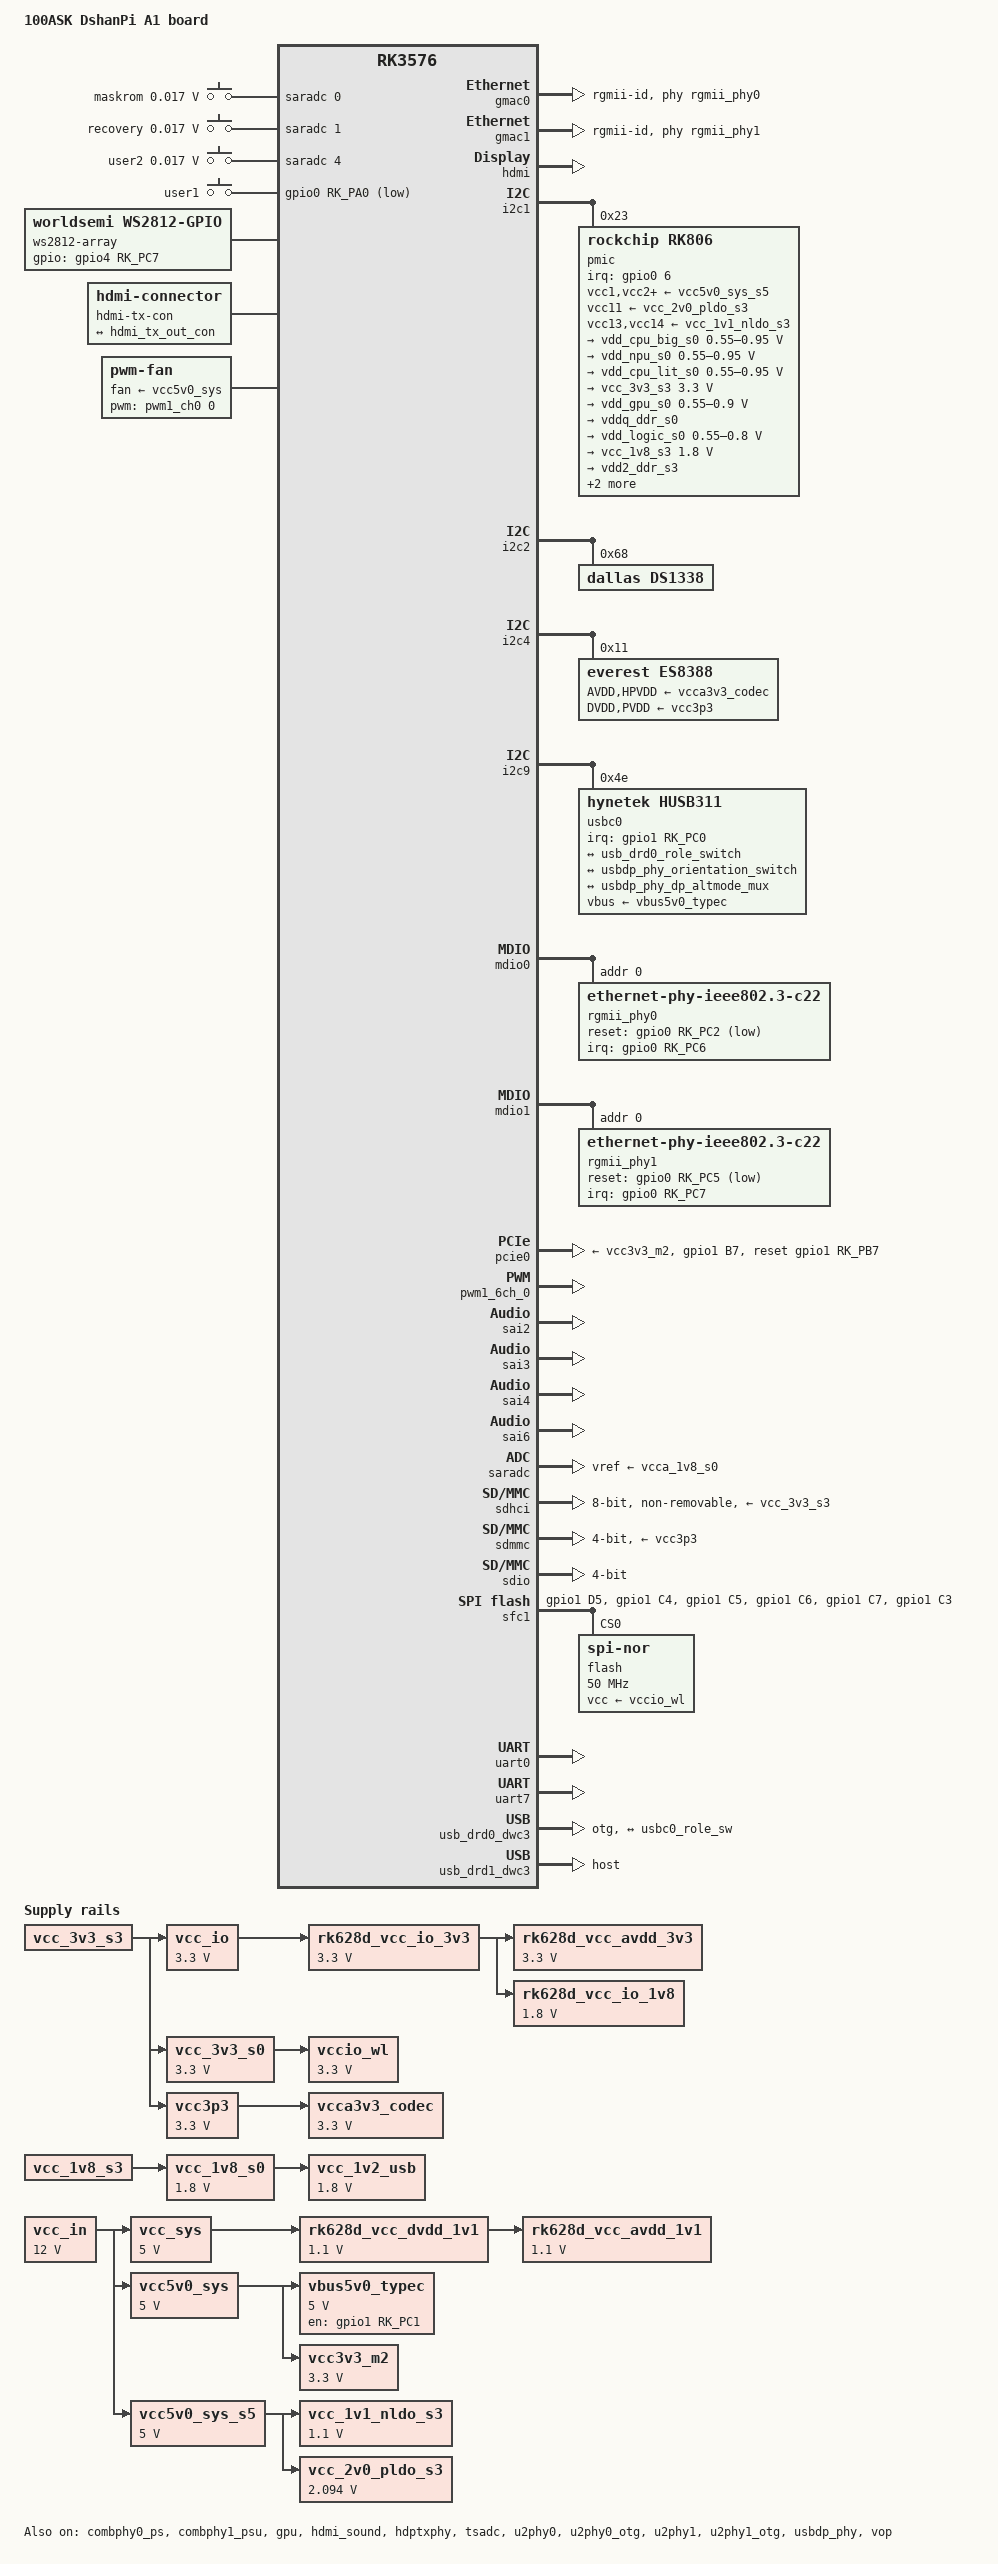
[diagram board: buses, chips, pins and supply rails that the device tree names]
// SPDX-License-Identifier: (GPL-2.0+ OR MIT)
/*
 * Copyright (c) 2024 Rockchip Electronics Co., Ltd.
 *
 */

/dts-v1/;

#include <dt-bindings/gpio/gpio.h>
#include <dt-bindings/input/linux-event-codes.h>
#include <dt-bindings/leds/common.h>
#include <dt-bindings/pinctrl/rockchip.h>
#include <dt-bindings/pwm/pwm.h>
#include <dt-bindings/soc/rockchip,vop2.h>
#include <dt-bindings/usb/pd.h>
#include "rk3576.dtsi"

/ {
	model = "100ASK DshanPi A1 board";
	compatible = "100ask,dshanpi-a1", "rockchip,rk3576";

	aliases {
		ethernet0 = &gmac0;
		ethernet1 = &gmac1;
		mmc0 = &sdhci;
		mmc1 = &sdmmc;
	};

	chosen {
		stdout-path = "serial0:1500000n8";
	};

	adc-keys-maskrom {
		compatible = "adc-keys";
		io-channels = <&saradc 0>;
		io-channel-names = "buttons";
		keyup-threshold-microvolt = <1800000>;
		poll-interval = <100>;

		button-maskrom {
			label = "maskrom";
			linux,code = <KEY_SETUP>;
			press-threshold-microvolt = <17000>;
		};
	};

	adc-keys-recovery {
		compatible = "adc-keys";
		io-channels = <&saradc 1>;
		io-channel-names = "buttons";
		keyup-threshold-microvolt = <1800000>;
		poll-interval = <100>;

		button-recovery {
			label = "recovery";
			linux,code = <KEY_VENDOR>;
			press-threshold-microvolt = <17000>;
		};
	};

	adc-keys-user2 {
		compatible = "adc-keys";
		io-channels = <&saradc 4>;
		io-channel-names = "buttons";
		keyup-threshold-microvolt = <1800000>;
		poll-interval = <100>;

		button-user2 {
			label = "user2";
			linux,code = <KEY_VOLUMEDOWN>;
			press-threshold-microvolt = <17000>;
		};
	};

	gpio-keys-user1 {
		compatible = "gpio-keys";
		autorepeat;
		pinctrl-names = "default";
		pinctrl-0 = <&key_user1>;

		key-user1 {
			debounce-interval = <100>;
			gpios = <&gpio0 RK_PA0 GPIO_ACTIVE_LOW>;
			label = "user1";
			linux,code = <KEY_VOLUMEUP>;
		};
	};

	ws2812-array {
		compatible = "worldsemi,ws2812-gpio";
		pinctrl-names = "default";
		pinctrl-0 = <&ws2812_pins>;
		gpios = <&gpio4 RK_PC7 GPIO_ACTIVE_HIGH>;
		#address-cells = <1>;
		#size-cells = <0>;

		led0: leds@0 {
			reg = <0>;
			label = "ws2812-0";
		};

		led1: leds@1 {
			reg = <1>;
			label = "ws2812-1";  
		};

		led2: leds@2 {
			reg = <2>;
			label = "ws2812-2";
		};

		led3: leds@3 {
			reg = <3>;
			label = "ws2812-3";
		};
	};

	es8388_sound: es8388-sound {
		compatible = "simple-audio-card";
		simple-audio-card,format = "i2s";
		simple-audio-card,mclk-fs = <256>;
		simple-audio-card,name = "On-board Analog ES8388";
		simple-audio-card,widgets = "Microphone", "Headphone Mic",
					    "Microphone", "Mic Pads",
					    "Headphone", "Headphone",
					    "Line Out", "Line Out";
		simple-audio-card,routing = "Headphone", "LOUT1",
					    "Headphone", "ROUT1",
					    "Line Out", "LOUT2",
					    "Line Out", "ROUT2",
					    "RINPUT1", "Headphone Mic",
					    "LINPUT2", "Mic Pads",
					    "RINPUT2", "Mic Pads";
		simple-audio-card,pin-switches = "Headphone", "Line Out";

		simple-audio-card,cpu {
			sound-dai = <&sai2>;
		};

		simple-audio-card,codec {
			sound-dai = <&es8388>;
			system-clock-frequency = <12288000>;
		};
	};

	hdmi-tx-con {
		compatible = "hdmi-connector";
		type = "a";

		port {
			hdmi_tx_con_in: endpoint {
				remote-endpoint = <&hdmi_tx_out_con>;
			};
		};
	};

	fan: pwm-fan {
		compatible = "pwm-fan";
		cooling-levels = <0 120 150 180 210 240 255>;
		fan-supply = <&vcc5v0_sys>;
		pwms = <&pwm1_ch0 0 50000 0>;
		pwm-names = "fan";
		#cooling-cells = <2>;

	};

	/* U21: SY6280AAAC 5V to 5V (1A) */
	vbus5v0_typec: regulator-vbus5v0-typec {
		compatible = "regulator-fixed";
		enable-active-high;
		gpios = <&gpio1 RK_PC1 GPIO_ACTIVE_HIGH>;
		pinctrl-names = "default";
		pinctrl-0 = <&typec5v_pwren_h>;
		regulator-name = "vbus5v0_typec";
		regulator-min-microvolt = <5000000>;
		regulator-max-microvolt = <5000000>;
		vin-supply = <&vcc5v0_sys>;
		/* enable by typec5v_pwren_h */
	};

	/* Power Input USB Type-C with PD 12V */
	vcc_in: regulator-vcc-in {
		compatible = "regulator-fixed";
		regulator-name = "vcc_in";
		regulator-always-on;
		regulator-boot-on;
		regulator-min-microvolt = <12000000>;
		regulator-max-microvolt = <12000000>;
	};

	/* Q1: AO3401A P-MOSFET */
	vcc_io: regulator-vcc-io {
		compatible = "regulator-fixed";
		regulator-name = "vcc_io";
		regulator-boot-on;
		regulator-always-on;
		regulator-min-microvolt = <3300000>;
		regulator-max-microvolt = <3300000>;
		vin-supply = <&vcc_3v3_s3>;
		/* enable by pmic_pwr_ctrl2 */
	};

	/* U12: SY8105IADC 12V to 5V */
	vcc_sys: regulator-vcc-sys {
		compatible = "regulator-fixed";
		regulator-name = "vcc_sys";
		regulator-always-on;
		regulator-boot-on;
		regulator-min-microvolt = <5000000>;
		regulator-max-microvolt = <5000000>;
		vin-supply = <&vcc_in>;
	};

	/* U8: TMI3112H 5V to 1.1V */
	vcc_1v1_nldo_s3: regulator-vcc-1v1-nldo-s3 {
		compatible = "regulator-fixed";
		regulator-name = "vcc_1v1_nldo_s3";
		regulator-boot-on;
		regulator-always-on;
		regulator-min-microvolt = <1100000>;
		regulator-max-microvolt = <1100000>;
		vin-supply = <&vcc5v0_sys_s5>;
		/* enable by pmic_ext_en_out */
	};

	/* U39: CJ6211B12F */
	vcc_1v2_usb: regulator-vcc-1v2-usb {
		compatible = "regulator-fixed";
		regulator-name = "vcc_1v2_usb";
		regulator-boot-on;
		regulator-always-on;
		regulator-min-microvolt = <1800000>;
		regulator-max-microvolt = <1800000>;
		vin-supply = <&vcc_1v8_s0>;
	};

	/* Q2: AO3401A P-MOSFET */
	vcc_1v8_s0: regulator-vcc-3v3-s0 {
		compatible = "regulator-fixed";
		regulator-name = "vcc_1v8_s0";
		regulator-boot-on;
		regulator-always-on;
		regulator-min-microvolt = <1800000>;
		regulator-max-microvolt = <1800000>;
		vin-supply = <&vcc_1v8_s3>;
		/* enable by pmic_pwr_ctrl2 */
	};

	/* U7: TMI3112H 5V to 2.094V */
	vcc_2v0_pldo_s3: regulator-vcc-2v0-pldo-s3 {
		compatible = "regulator-fixed";
		regulator-name = "vcc_2v0_pldo_s3";
		regulator-boot-on;
		regulator-always-on;
		regulator-min-microvolt = <2094000>;
		regulator-max-microvolt = <2094000>;
		vin-supply = <&vcc5v0_sys_s5>;
		/* enable by pmic_ext_en_out */
	};


	/* Q1: AO3401A P-MOSFET */
	vcc_3v3_s0: regulator-vcc-3v3-s0 {
		compatible = "regulator-fixed";
		regulator-name = "vcc_3v3_s0";
		regulator-boot-on;
		regulator-always-on;
		regulator-min-microvolt = <3300000>;
		regulator-max-microvolt = <3300000>;
		vin-supply = <&vcc_3v3_s3>;
		/* enable by pmic_pwr_ctrl2 */
	};

	/* Q1: AO3401A P-MOSFET */
	vcc3p3: regulator-vcc3p3 {
		compatible = "regulator-fixed";
		regulator-name = "vcc3p3";
		regulator-boot-on;
		regulator-always-on;
		regulator-min-microvolt = <3300000>;
		regulator-max-microvolt = <3300000>;
		vin-supply = <&vcc_3v3_s3>;
		/* enable by pmic_pwr_ctrl2 */
	};

	/* U9: RY3430 5V to 3.3V */
	vcc3v3_m2: regulator-vcc3v3-m2 {
		compatible = "regulator-fixed";
		regulator-name = "vcc3v3_m2";
		regulator-boot-on;
		regulator-always-on;
		regulator-min-microvolt = <3300000>;
		regulator-max-microvolt = <3300000>;
		vin-supply = <&vcc5v0_sys>;
	};

	/* U12: SY8105IADC 12V to 5V */
	vcc5v0_sys: regulator-vcc5v0-sys {
		compatible = "regulator-fixed";
		regulator-name = "vcc5v0_sys";
		regulator-always-on;
		regulator-boot-on;
		regulator-min-microvolt = <5000000>;
		regulator-max-microvolt = <5000000>;
		vin-supply = <&vcc_in>;
	};

	/* FB17: isolation inductor */
	vcca3v3_codec: regulator-vcca3v3-codec {
		compatible = "regulator-fixed";
		regulator-name = "vcca3v3_codec";
		regulator-boot-on;
		regulator-always-on;
		regulator-min-microvolt = <3300000>;
		regulator-max-microvolt = <3300000>;
		vin-supply = <&vcc3p3>;
	};

	/* U12: SY8105IADC 12V to 5V */
	vcc5v0_sys_s5: regulator-vcc5v0_sys_s5 {
		compatible = "regulator-fixed";
		regulator-name = "vcc5v0_sys_s5";
		regulator-always-on;
		regulator-boot-on;
		regulator-min-microvolt = <5000000>;
		regulator-max-microvolt = <5000000>;
		vin-supply = <&vcc_in>;
	};

	/* R46/R47: vcc_3v3_s0 or vcc_1v8_s3 selector */
	vccio_wl: regulator-vccio-wl {
		compatible = "regulator-fixed";
		regulator-name = "vccio_wl";
		regulator-boot-on;
		regulator-always-on;
		regulator-min-microvolt = <3300000>;
		regulator-max-microvolt = <3300000>;
		vin-supply = <&vcc_3v3_s0>;
	};

	/* Q4: AO3401A P-MOSFET */
	rk628d_vcc_io_3v3: regulator-rk628d-vcc-io-3v3 {
		compatible = "regulator-fixed";
		regulator-name = "rk628d_vcc_io_3v3";
		regulator-boot-on;
		regulator-always-on;
		regulator-min-microvolt = <3300000>;
		regulator-max-microvolt = <3300000>;
		vin-supply = <&vcc_io>;
		/* enable by rk628d_pwr_en_h */
	};

	/* FB16: isolation inductor */
	rk628d_vcc_avdd_1v1: regulator-rk628d-vcc-avdd-1v1 {
		compatible = "regulator-fixed";
		regulator-name = "rk628d_vcc_avdd_1v1";
		regulator-boot-on;
		regulator-always-on;
		regulator-min-microvolt = <1100000>;
		regulator-max-microvolt = <1100000>;
		vin-supply = <&rk628d_vcc_dvdd_1v1>;
	};

	/* FB15: isolation inductor */
	rk628d_vcc_avdd_3v3: regulator-rk628d-vcc-avdd-3v3 {
		compatible = "regulator-fixed";
		regulator-name = "rk628d_vcc_avdd_3v3";
		regulator-boot-on;
		regulator-always-on;
		regulator-min-microvolt = <3300000>;
		regulator-max-microvolt = <3300000>;
		vin-supply = <&rk628d_vcc_io_3v3>;
	};

	/* U24: RY3430 5V to 1.1V */
	rk628d_vcc_dvdd_1v1: regulator-rk628d-vcc-dvdd-1v1 {
		compatible = "regulator-fixed";
		regulator-name = "rk628d_vcc_dvdd_1v1";
		regulator-boot-on;
		regulator-always-on;
		regulator-min-microvolt = <1100000>;
		regulator-max-microvolt = <1100000>;
		vin-supply = <&vcc_sys>;
		/* enable by rk628d_vcc_io_3v3 */
	};

	/* U25: SGM2028 3.3V to 1.8V */
	rk628d_vcc_io_1v8: regulator-rk628d-vcc-io-1v8 {
		compatible = "regulator-fixed";
		regulator-name = "rk628d_vcc_io_1v8";
		regulator-boot-on;
		regulator-always-on;
		regulator-min-microvolt = <1800000>;
		regulator-max-microvolt = <1800000>;
		vin-supply = <&rk628d_vcc_io_3v3>;
	};

};

&combphy0_ps {
	status = "okay";
};

&combphy1_psu {
	status = "okay";
};

&cpu_b0 {
	cpu-supply = <&vdd_cpu_big_s0>;
};

&cpu_b1 {
	cpu-supply = <&vdd_cpu_big_s0>;
};

&cpu_b2 {
	cpu-supply = <&vdd_cpu_big_s0>;
};

&cpu_b3 {
	cpu-supply = <&vdd_cpu_big_s0>;
};

&cpu_l0 {
	cpu-supply = <&vdd_cpu_lit_s0>;
};

&cpu_l1 {
	cpu-supply = <&vdd_cpu_lit_s0>;
};

&cpu_l2 {
	cpu-supply = <&vdd_cpu_lit_s0>;
};

&cpu_l3 {
	cpu-supply = <&vdd_cpu_lit_s0>;
};

&gmac0 {
	clock_in_out = "output";
	phy-mode = "rgmii-id";
	phy-handle = <&rgmii_phy0>;
	pinctrl-names = "default";
	pinctrl-0 = <&eth0m0_miim
		     &eth0m0_tx_bus2
		     &eth0m0_rx_bus2
		     &eth0m0_rgmii_clk
		     &eth0m0_rgmii_bus>;
	status = "okay";
};

&gmac1 {
	clock_in_out = "output";
	phy-mode = "rgmii-id";
	phy-handle = <&rgmii_phy1>;
	pinctrl-names = "default";
	pinctrl-0 = <&eth1m0_miim
		     &eth1m0_tx_bus2
		     &eth1m0_rx_bus2
		     &eth1m0_rgmii_clk
		     &eth1m0_rgmii_bus>;
	status = "okay";
};

&gpu {
	mali-supply = <&vdd_gpu_s0>;
	status = "okay";
};

&hdmi {
	status = "okay";
};

&hdmi_in {
	hdmi_in_vp0: endpoint {
		remote-endpoint = <&vp0_out_hdmi>;
	};
};

&hdmi_out {
	hdmi_tx_out_con: endpoint {
		remote-endpoint = <&hdmi_tx_con_in>;
	};
};

&hdmi_sound {
	status = "okay";
};

&hdptxphy {
	status = "okay";
};

&i2c0 {
	pinctrl-0 = <&i2c0m0_xfer>;

	/* MIPI CSI 2 */
};

&i2c1 {
	status = "okay";

	pmic@23 {
		compatible = "rockchip,rk806";
		reg = <0x23>;

		gpio-controller;
		#gpio-cells = <2>;

		interrupt-parent = <&gpio0>;
		interrupts = <6 IRQ_TYPE_LEVEL_LOW>;
		pinctrl-names = "default";
		pinctrl-0 = <&pmic_pins
			     &rk806_dvs1_null
			     &rk806_dvs2_null
			     &rk806_dvs3_null>;
		system-power-controller;
		vcc1-supply = <&vcc5v0_sys_s5>;
		vcc2-supply = <&vcc5v0_sys_s5>;
		vcc3-supply = <&vcc5v0_sys_s5>;
		vcc4-supply = <&vcc5v0_sys_s5>;
		vcc5-supply = <&vcc5v0_sys_s5>;
		vcc6-supply = <&vcc5v0_sys_s5>;
		vcc7-supply = <&vcc5v0_sys_s5>;
		vcc8-supply = <&vcc5v0_sys_s5>;
		vcc9-supply = <&vcc5v0_sys_s5>;
		vcc10-supply = <&vcc5v0_sys_s5>;
		vcc11-supply = <&vcc_2v0_pldo_s3>;
		vcc12-supply = <&vcc5v0_sys_s5>;
		vcc13-supply = <&vcc_1v1_nldo_s3>;
		vcc14-supply = <&vcc_1v1_nldo_s3>;
		vcca-supply = <&vcc5v0_sys_s5>;

		rk806_dvs1_null: dvs1-null-pins {
			pins = "gpio_pwrctrl1";
			function = "pin_fun0";
		};

		rk806_dvs2_null: dvs2-null-pins {
			pins = "gpio_pwrctrl2";
			function = "pin_fun0";
		};

		rk806_dvs3_null: dvs3-null-pins {
			pins = "gpio_pwrctrl3";
			function = "pin_fun0";
		};

		rk806_dvs1_slp: dvs1-slp-pins {
			pins = "gpio_pwrctrl1";
			function = "pin_fun1";
		};

		rk806_dvs1_pwrdn: dvs1-pwrdn-pins {
			pins = "gpio_pwrctrl1";
			function = "pin_fun2";
		};

		rk806_dvs1_rst: dvs1-rst-pins {
			pins = "gpio_pwrctrl1";
			function = "pin_fun3";
		};

		rk806_dvs2_slp: dvs2-slp-pins {
			pins = "gpio_pwrctrl2";
			function = "pin_fun1";
		};

		rk806_dvs2_pwrdn: dvs2-pwrdn-pins {
			pins = "gpio_pwrctrl2";
			function = "pin_fun2";
		};

		rk806_dvs2_rst: dvs2-rst-pins {
			pins = "gpio_pwrctrl2";
			function = "pin_fun3";
		};

		rk806_dvs2_dvs: dvs2-dvs-pins {
			pins = "gpio_pwrctrl2";
			function = "pin_fun4";
		};

		rk806_dvs2_gpio: dvs2-gpio-pins {
			pins = "gpio_pwrctrl2";
			function = "pin_fun5";
		};

		rk806_dvs3_slp: dvs3-slp-pins {
			pins = "gpio_pwrctrl3";
			function = "pin_fun1";
		};

		rk806_dvs3_pwrdn: dvs3-pwrdn-pins {
			pins = "gpio_pwrctrl3";
			function = "pin_fun2";
		};

		rk806_dvs3_rst: dvs3-rst-pins {
			pins = "gpio_pwrctrl3";
			function = "pin_fun3";
		};

		rk806_dvs3_dvs: dvs3-dvs-pins {
			pins = "gpio_pwrctrl3";
			function = "pin_fun4";
		};

		rk806_dvs3_gpio: dvs3-gpio-pins {
			pins = "gpio_pwrctrl3";
			function = "pin_fun5";
		};

		regulators {
			vdd_cpu_big_s0: dcdc-reg1 {
				regulator-always-on;
				regulator-boot-on;
				regulator-min-microvolt = <550000>;
				regulator-max-microvolt = <950000>;
				regulator-ramp-delay = <12500>;
				regulator-name = "vdd_cpu_big_s0";
				regulator-enable-ramp-delay = <400>;
				regulator-state-mem {
					regulator-off-in-suspend;
				};
			};

			vdd_npu_s0: dcdc-reg2 {
				regulator-boot-on;
				regulator-min-microvolt = <550000>;
				regulator-max-microvolt = <950000>;
				regulator-ramp-delay = <12500>;
				regulator-name = "vdd_npu_s0";
				regulator-enable-ramp-delay = <400>;
				regulator-state-mem {
					regulator-off-in-suspend;
				};
			};

			vdd_cpu_lit_s0: dcdc-reg3 {
				regulator-always-on;
				regulator-boot-on;
				regulator-min-microvolt = <550000>;
				regulator-max-microvolt = <950000>;
				regulator-ramp-delay = <12500>;
				regulator-name = "vdd_cpu_lit_s0";
				regulator-state-mem {
					regulator-off-in-suspend;
					regulator-suspend-microvolt = <750000>;
				};
			};

			vcc_3v3_s3: dcdc-reg4 {
				regulator-always-on;
				regulator-boot-on;
				regulator-min-microvolt = <3300000>;
				regulator-max-microvolt = <3300000>;
				regulator-name = "vcc_3v3_s3";
				regulator-state-mem {
					regulator-on-in-suspend;
					regulator-suspend-microvolt = <3300000>;
				};
			};

			vdd_gpu_s0: dcdc-reg5 {
				regulator-boot-on;
				regulator-min-microvolt = <550000>;
				regulator-max-microvolt = <900000>;
				regulator-ramp-delay = <12500>;
				regulator-name = "vdd_gpu_s0";
				regulator-enable-ramp-delay = <400>;
				regulator-state-mem {
					regulator-off-in-suspend;
					regulator-suspend-microvolt = <850000>;
				};
			};

			vddq_ddr_s0: dcdc-reg6 {
				regulator-always-on;
				regulator-boot-on;
				regulator-name = "vddq_ddr_s0";
				regulator-state-mem {
					regulator-off-in-suspend;
				};
			};

			vdd_logic_s0: dcdc-reg7 {
				regulator-always-on;
				regulator-boot-on;
				regulator-min-microvolt = <550000>;
				regulator-max-microvolt = <800000>;
				regulator-name = "vdd_logic_s0";
				regulator-state-mem {
					regulator-off-in-suspend;
				};
			};

			vcc_1v8_s3: dcdc-reg8 {
				regulator-always-on;
				regulator-boot-on;
				regulator-min-microvolt = <1800000>;
				regulator-max-microvolt = <1800000>;
				regulator-name = "vcc_1v8_s3";
				regulator-state-mem {
					regulator-on-in-suspend;
					regulator-suspend-microvolt = <1800000>;
				};
			};

			vdd2_ddr_s3: dcdc-reg9 {
				regulator-always-on;
				regulator-boot-on;
				regulator-name = "vdd2_ddr_s3";
				regulator-state-mem {
					regulator-on-in-suspend;
				};
			};

			vdd_ddr_s0: dcdc-reg10 {
				regulator-always-on;
				regulator-boot-on;
				regulator-min-microvolt = <550000>;
				regulator-max-microvolt = <1200000>;
				regulator-name = "vdd_ddr_s0";
				regulator-state-mem {
					regulator-off-in-suspend;
				};
			};

			vcca_1v8_s0: pldo-reg1 {
				regulator-always-on;
				regulator-boot-on;
				regulator-min-microvolt = <1800000>;
				regulator-max-microvolt = <1800000>;
				regulator-name = "vcca_1v8_s0";
				regulator-state-mem {
					regulator-off-in-suspend;
				};
			};

			vcca1v8_pldo2_s0: pldo-reg2 {
				regulator-always-on;
				regulator-boot-on;
				regulator-min-microvolt = <1800000>;
				regulator-max-microvolt = <1800000>;
				regulator-name = "vcca1v8_pldo2_s0";
				regulator-state-mem {
					regulator-off-in-suspend;
				};
			};

			vdda_1v2_s0: pldo-reg3 {
				regulator-always-on;
				regulator-boot-on;
				regulator-min-microvolt = <1200000>;
				regulator-max-microvolt = <1200000>;
				regulator-name = "vdda_1v2_s0";
				regulator-state-mem {
					regulator-off-in-suspend;
				};
			};

			vcca_3v3_s0: pldo-reg4 {
				regulator-always-on;
				regulator-boot-on;
				regulator-min-microvolt = <3300000>;
				regulator-max-microvolt = <3300000>;
				regulator-name = "vcca_3v3_s0";
				regulator-state-mem {
					regulator-off-in-suspend;
				};
			};

			vccio_sd_s0: pldo-reg5 {
				regulator-always-on;
				regulator-boot-on;
				regulator-min-microvolt = <3300000>;
				regulator-max-microvolt = <3300000>;
				regulator-name = "vccio_sd_s0";
				regulator-state-mem {
					regulator-off-in-suspend;
				};
			};

			vcca1v8_pldo6_s3: pldo-reg6 {
				regulator-always-on;
				regulator-boot-on;
				regulator-min-microvolt = <1800000>;
				regulator-max-microvolt = <1800000>;
				regulator-name = "vcca1v8_pldo6_s3";
				regulator-state-mem {
					regulator-on-in-suspend;
					regulator-suspend-microvolt = <1800000>;
				};
			};

			vdd_0v75_s3: nldo-reg1 {
				regulator-always-on;
				regulator-boot-on;
				regulator-min-microvolt = <750000>;
				regulator-max-microvolt = <750000>;
				regulator-name = "vdd_0v75_s3";
				regulator-state-mem {
					regulator-on-in-suspend;
					regulator-suspend-microvolt = <750000>;
				};
			};

			vdda_ddr_pll_s0: nldo-reg2 {
				regulator-always-on;
				regulator-boot-on;
				regulator-min-microvolt = <850000>;
				regulator-max-microvolt = <850000>;
				regulator-name = "vdda_ddr_pll_s0";
				regulator-state-mem {
					regulator-off-in-suspend;
				};
			};

			vdda0v75_hdmi_s0: nldo-reg3 {
				regulator-always-on;
				regulator-boot-on;
				regulator-min-microvolt = <837500>;
				regulator-max-microvolt = <837500>;
				regulator-name = "vdda0v75_hdmi_s0";
				regulator-state-mem {
					regulator-off-in-suspend;
				};
			};

			vdda_0v85_s0: nldo-reg4 {
				regulator-always-on;
				regulator-boot-on;
				regulator-min-microvolt = <850000>;
				regulator-max-microvolt = <850000>;
				regulator-name = "vdda_0v85_s0";
				regulator-state-mem {
					regulator-off-in-suspend;
				};
			};

			vdda_0v75_s0: nldo-reg5 {
				regulator-always-on;
				regulator-boot-on;
				regulator-min-microvolt = <750000>;
				regulator-max-microvolt = <750000>;
				regulator-name = "vdda_0v75_s0";
				regulator-state-mem {
					regulator-off-in-suspend;
				};
			};
		};
	};

	/* MIPI CSI 1 */
};

&i2c2 {
	status = "okay";

	/* Renesas RS4C1338 RTC @ 0x68 */
	ds1338: rtc@68 {
		compatible = "dallas,ds1338";
		reg = <0x68>;
		clock-output-names = "ds1338";
		wakeup-source;
		#clock-cells = <0>;
	};

	/* M.2 PCIe B-Key */
	/* Expansion Interface Pin3, Pin5 */
};

&i2c3 {
	pinctrl-0 = <&i2c3m2_xfer>;

	/* MIPI CSI 3 */
};

&i2c4 {
	status = "okay";

	/* Everest ES8388 audio codec @ 0x11 */
	es8388: audio-codec@11 {
		compatible = "everest,es8388", "everest,es8328";
		reg = <0x11>;
		clocks = <&cru CLK_SAI1_MCLKOUT_TO_IO>;
		AVDD-supply = <&vcca3v3_codec>;
		DVDD-supply = <&vcc3p3>;
		HPVDD-supply = <&vcca3v3_codec>;
		PVDD-supply = <&vcc3p3>;
		assigned-clocks = <&cru CLK_SAI1_MCLKOUT_TO_IO>;
		assigned-clock-rates = <12288000>;
		#sound-dai-cells = <0>;
	};

	/* MIPI DSI Touchscreen */
};

&i2c5 {
	pinctrl-0 = <&i2c5m3_xfer>;

	/* Expansion Interface Pin27, Pin28 */
};

&i2c9 {
	status = "okay";
	pinctrl-0 = <&i2c9m1_xfer>;

	/* Hynetek HUSB311 USB Type-C PD controller @ 0x4e */
	usbc0: husb311@4e {
		compatible = "hynetek,husb311";
		reg = <0x4e>;
		interrupt-parent = <&gpio1>;
		interrupts = <RK_PC0 IRQ_TYPE_LEVEL_LOW>;
		pinctrl-names = "default";
		pinctrl-0 = <&usbcc_int_l>;
		vbus-supply = <&vbus5v0_typec>;
		status = "okay";

		port {
			usbc0_role_sw: endpoint {
				remote-endpoint = <&usb_drd0_role_switch>;
			};
		};

		usb_con: connector {
			compatible = "usb-c-connector";
			label = "USB-C";
			data-role = "dual";
			power-role = "dual";
			try-power-role = "sink";
			op-sink-microwatt = <1000000>;
			sink-pdos = <PDO_FIXED(5000, 1000, PDO_FIXED_USB_COMM)>;
			source-pdos = <PDO_FIXED(5000, 3000, PDO_FIXED_USB_COMM)>;

			ports {
				#address-cells = <1>;
				#size-cells = <0>;

				port@0 {
					reg = <0>;
					usbc0_orien_sw: endpoint {
						remote-endpoint = <&usbdp_phy_orientation_switch>;
					};
				};

				port@1 {
					reg = <1>;
					dp_altmode_mux: endpoint {
						remote-endpoint = <&usbdp_phy_dp_altmode_mux>;
					};
				};
			};
		};
	};

	/* Runjet RJGT204T6 @ 0x68 */
	/* Rockchip RK628D HDMI RX @ 0x51 */
};

&mdio0 {
	rgmii_phy0: phy@0 {
		compatible = "ethernet-phy-ieee802.3-c22";
		reg = <0x0>;
		clocks = <&cru REFCLKO25M_GMAC0_OUT>;
                interrupt-parent = <&gpio0>;
                interrupts = <RK_PC6 IRQ_TYPE_LEVEL_LOW>;
		pinctrl-names = "default";
		pinctrl-0 = <&eth0_reset>, <&eth0_intn>;
		et-assert-us = <20000>;
		reset-deassert-us = <100000>;
		reset-gpios = <&gpio0 RK_PC2 GPIO_ACTIVE_LOW>;
	};
};

&mdio1 {
	rgmii_phy1: phy@0 {
		compatible = "ethernet-phy-ieee802.3-c22";
		reg = <0x0>;
		clocks = <&cru REFCLKO25M_GMAC1_OUT>;
                interrupt-parent = <&gpio0>;
                interrupts = <RK_PC7 IRQ_TYPE_LEVEL_LOW>;
		pinctrl-names = "default";
		pinctrl-0 = <&eth1_reset>, <&eth1_intn>;
		reset-assert-us = <20000>;
		reset-deassert-us = <100000>;
		reset-gpios = <&gpio0 RK_PC5 GPIO_ACTIVE_LOW>;
	};
};

&package_thermal {
	polling-delay = <1000>;

	trips {
		package_fan0: package-fan0 {
			temperature = <55000>;
			hysteresis = <2000>;
			type = "active";
		};

		package_fan1: package-fan1 {
			temperature = <65000>;
			hysteresis = <2000>;
			type = "active";
		};
	};

	cooling-maps {
		map0 {
			trip = <&package_fan0>;
			cooling-device = <&fan THERMAL_NO_LIMIT 1>;
		};

		map1 {
			trip = <&package_fan1>;
			cooling-device = <&fan 2 THERMAL_NO_LIMIT>;
		};
	};
};

&pcie0 {
	pinctrl-names = "default";
	pinctrl-0 = <&pcie_perstn>;
	reset-gpios = <&gpio1 RK_PB7 GPIO_ACTIVE_HIGH>;
	vpcie3v3-supply = <&vcc3v3_m2>;
	status = "okay";
};

&pinctrl {
	pmuio0-supply = <&vcc_1v8_s3>;
	pmuio1-supply = <&vcc_3v3_s3>;
	vccio0-supply = <&vcc_1v8_s3>;
	vccio1-supply = <&vccio_sd_s0>;
	vccio2-supply = <&vcc_3v3_s0>;
	vccio3-supply = <&vccio_wl>;
	vccio4-supply = <&vcc_1v8_s0>;
	vccio5-supply = <&vcc_1v8_s0>;
	vccio6-supply = <&vcc_3v3_s0>;
	vccio7-supply = <&vdda_1v2_s0>;

	bluetooth {
		bt_wake: bt-wake-l {
			rockchip,pins = <4 RK_PB3 RK_FUNC_GPIO &pcfg_pull_up>;
		};

		bt_reg_on: bt-reg-on-h {
			rockchip,pins = <4 RK_PB2 RK_FUNC_GPIO &pcfg_pull_down>;
		};

		bt_wake_host: bt-wake-host-h {
			rockchip,pins = <4 RK_PB1 RK_FUNC_GPIO &pcfg_pull_down>;
		};
	};

	buttons {
		key_user1: key-user1 {
			rockchip,pins = <0 RK_PA0 RK_FUNC_GPIO &pcfg_pull_none>;
		};
	};

	fspi1 {
		fspi1m1_pins: fspi1m1-pins {
			rockchip,pins =
				/* fspi1_clk_m1 */
				<1 RK_PD5 3 &pcfg_pull_none>,
				/* fspi1_d0_m1 */
				<1 RK_PC4 3 &pcfg_pull_none>,
				/* fspi1_d1_m1 */
				<1 RK_PC5 3 &pcfg_pull_none>,
				/* fspi1_d2_m1 */
				<1 RK_PC6 3 &pcfg_pull_none>,
				/* fspi1_d3_m1 */
				<1 RK_PC7 3 &pcfg_pull_none>;
		};

		fspi1m1_csn0: fspi1m1-csn0 {
			rockchip,pins =
				/* fspi1m1_csn0 */
				<1 RK_PC3 3 &pcfg_pull_none>;
		};
	};

	gmac {
		eth0_reset: eth0-reset {
			rockchip,pins = <0 RK_PC2 RK_FUNC_GPIO &pcfg_pull_none>;
		};

		eth0_intn: eth0-intn {
			rockchip,pins = <0 RK_PC6 RK_FUNC_GPIO &pcfg_pull_none>;
		};

		eth1_reset: eth1-reset {
			rockchip,pins = <0 RK_PC5 RK_FUNC_GPIO &pcfg_pull_none>;
		};

		eth1_intn: eth1-intn {
			rockchip,pins = <0 RK_PC7 RK_FUNC_GPIO &pcfg_pull_none>;
		};
	};

	headphone {
		hp_det: hp-det {
			rockchip,pins = <0 RK_PD3 RK_FUNC_GPIO &pcfg_pull_up>;
		};
	};

	leds {
		ws2812_pins: ws2812-pins {
			rockchip,pins = <4 RK_PC7 RK_FUNC_GPIO &pcfg_pull_none_drv_level_15>;
		};
	};

	pcie {
		pcie_perstn: pcie-perstn {
			rockchip,pins = <1 RK_PB7 RK_FUNC_GPIO &pcfg_pull_none>;
		};
	};

	usb {
		typec5v_pwren_h: typec5v-pwren-h {
			rockchip,pins = <1 RK_PC1 RK_FUNC_GPIO &pcfg_pull_none>;
		};

		usbcc_int_l: usbcc-int-l {
			rockchip,pins = <1 RK_PC0 RK_FUNC_GPIO &pcfg_pull_up>;
		};
	};

	wifi {
		wifi_wake_host: wifi-wake-host-h {
			rockchip,pins = <2 RK_PD6 RK_FUNC_GPIO &pcfg_pull_down>;
		};

		wifi_reg_on: wifi-reg-on-h {
			rockchip,pins = <4 RK_PB0 RK_FUNC_GPIO &pcfg_pull_down>;
		};

		wifi_w_disable: wifi-w-disable {
			rockchip,pins = <1 RK_PC2 RK_FUNC_GPIO &pcfg_pull_up>;
		};
	};
};

/* LCD Backlight */
&pwm0_2ch_0 {
	pinctrl-0 = <&pwm0m0_ch0>;
};

/* PWM Fan */
&pwm1_6ch_0 {
	pinctrl-0 = <&pwm1m0_ch0>;
	status = "okay";
};

/* Everest ES8388 audio codec I2S */
&sai2 {
	pinctrl-0 = <&sai2m0_mclk>,
		    <&sai2m0_lrck>,
		    <&sai2m0_sclk>,
		    <&sai2m0_sdi>,
		    <&sai2m0_sdo>;
	status = "okay";
};

/* M.2 PCIe B-Key I2S and Expansion Interface Pin12, Pin35, Pin38, Pin40 */
&sai3 {
	pinctrl-0 = <&sai3m2_lrck>,
		    <&sai3m2_sclk>,
		    <&sai3m2_sdi>,
		    <&sai3m2_sdo>;
	status = "okay";
};

/* Rockchip RK628D HDMI RX audio I2S */
&sai4 {
	pinctrl-names = "default";
	pinctrl-0 = <&sai4m0_mclk>,
		    <&sai4m0_lrck>,
		    <&sai4m0_sclk>,
		    <&sai4m0_sdi>;
	status = "okay";
};

/* HDMI TX audio */
&sai6 {
	status = "okay";
};

&saradc {
	status = "okay";
	vref-supply = <&vcca_1v8_s0>;

	/* Channel 0: ADC Keys MASKROM / Boot */
	/* Channel 1: ADC Keys Recovery */
	/* Channel 2: Unused (Hardware ID) */
	/* Channel 3: Unused (HP HOOK) */
	/* Channel 4: ADC Keys User2 */
	/* Channel 7: Unused (LCD ID) */
};

/* eMMC */
&sdhci {
	bus-width = <8>;
	full-pwr-cycle-in-suspend;
	max-frequency = <200000000>;
	mmc-hs400-1_8v;
	mmc-hs400-enhanced-strobe;
	no-sdio;
	no-sd;
	non-removable;
	vmmc-supply = <&vcc_3v3_s3>;
	vqmmc-supply = <&vcc_1v8_s3>;
	/delete-property/ supports-cqe;
	status = "okay";
};

/* Micro SD card slot */
&sdmmc {
	bus-width = <4>;
	cap-mmc-highspeed;
	cap-sd-highspeed;
	disable-wp;
	max-frequency = <200000000>;
	sd-uhs-sdr104;
	vmmc-supply = <&vcc3p3>;
	vqmmc-supply = <&vcc3p3>;
	status = "okay";
};

/* M.2 PCIe B-Key SDIO */
&sdio {
	pinctrl-names = "default";
	pinctrl-0 = <&sdmmc1m1_clk>,
		    <&sdmmc1m1_cmd>,
		    <&sdmmc1m1_bus4>;
	bus-width = <4>;
	cap-mmc-highspeed;
	cap-sd-highspeed;
	disable-wp;
	max-frequency = <200000000>;
	sd-uhs-sdr104;
	status = "okay";
};

/* SPI Flash and Expansion Interface Pin11, Pin13, Pin15, Pin19, Pin21, Pin23 */
&sfc1 {
	pinctrl-names = "default";
	pinctrl-0 = <&fspi1m1_pins>, <&fspi1m1_csn0>;
	status = "okay";

	flash@0 {
		compatible = "jedec,spi-nor";
		reg = <0>;
		spi-max-frequency = <50000000>;
		spi-rx-bus-width = <4>;
		spi-tx-bus-width = <1>;
		vcc-supply = <&vccio_wl>;
	};
};

&tsadc {
	status = "okay";
};

/* USB Type-C OTG */
&u2phy0 {
	status = "okay";
};

/* USB Type-C OTG */
&u2phy0_otg {
	phy-supply = <&vbus5v0_typec>;
	status = "okay";
};

/* USB Hub */
&u2phy1 {
	status = "okay";
};

/* USB Hub */
&u2phy1_otg {
	phy-supply = <&vcc5v0_sys>;
	status = "okay";
};

&usbdp_phy {
	mode-switch;
	orientation-switch;
	sbu1-dc-gpios = <&gpio2 RK_PA6 GPIO_ACTIVE_HIGH>;
	sbu2-dc-gpios = <&gpio2 RK_PA7 GPIO_ACTIVE_HIGH>;
	status = "okay";

	port {
		#address-cells = <1>;
		#size-cells = <0>;

		usbdp_phy_orientation_switch: endpoint@0 {
			reg = <0>;
			remote-endpoint = <&usbc0_orien_sw>;
		};

		usbdp_phy_dp_altmode_mux: endpoint@1 {
			reg = <1>;
			remote-endpoint = <&dp_altmode_mux>;
		};
	};
};

/* Debug UART in Expansion Interface Pin8, Pin10 */
&uart0 {
	pinctrl-0 = <&uart0m0_xfer>;
	status = "okay";
};

/* UART in USB Type-C SBU */
&uart6 {
	pinctrl-0 = <&uart6m3_xfer>;
};

/* UART in M.2 PCIe B-Key and Expansion Interface Pin26, Pin32, Pin36, Pin37 */
&uart7 {
	pinctrl-0 = <&uart7m0_xfer>,
		    <&uart7m0_ctsn>,
		    <&uart7m0_rtsn>;
	uart-has-rtscts;
	status = "okay";
};

/* USB Type-C OTG */
&usb_drd0_dwc3 {
	dr_mode = "otg";
	usb-role-switch;
	status = "okay";

	port {
		usb_drd0_role_switch: endpoint {
			remote-endpoint = <&usbc0_role_sw>;
		};
	};
};

/* USB Hub */
&usb_drd1_dwc3 {
	dr_mode = "host";
	status = "okay";
};

&vop {
	status = "okay";
};

&vop_mmu {
	status = "okay";
};

&vp0 {
	vp0_out_hdmi: endpoint@ROCKCHIP_VOP2_EP_HDMI0 {
		reg = <ROCKCHIP_VOP2_EP_HDMI0>;
		remote-endpoint = <&hdmi_in_vp0>;
	};
};
